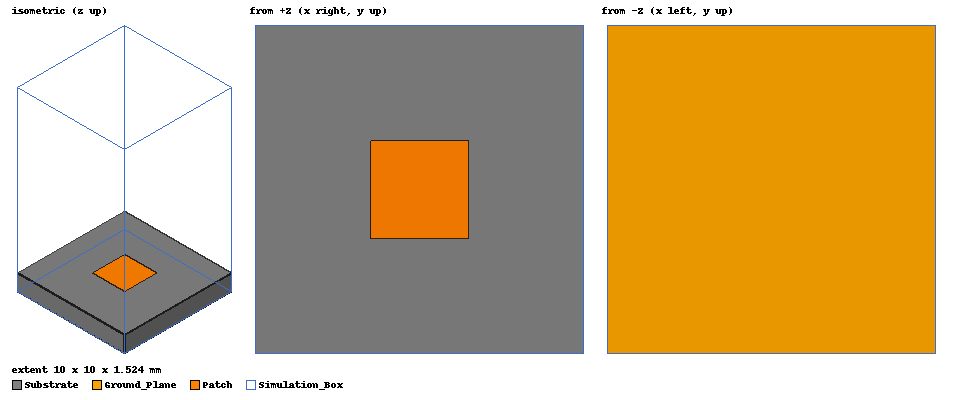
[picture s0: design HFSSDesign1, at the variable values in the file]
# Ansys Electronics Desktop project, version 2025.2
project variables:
  $Lambda = 30mm  # wavelength in air
  $Dk = 4.5  # dielectric constant
  $H = 1.524mm  # dielectric height
  $T = 0.004mil  # conductor thickness
  $L = $Lambda*$waveFactor
  $Lpatch = 3mm  # rect patch dimension; tune 5mm..15mm
  $mfrgTol = 6mil
  $waveFactor = 1/3
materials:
  vacuum: permittivity=1
  Rogers RT/duroid 5880 (tm): permittivity=2.2 dielectric_loss_tangent=0.0009
  copper: permeability=0.999991 conductivity=58000000
  Kingboard KB6167F: permittivity=4.5 dielectric_loss_tangent=0.016
  Rogers RO4003 (tm): permittivity=3.55 dielectric_loss_tangent=0.0027

design HFSSDesign1 (HFSS, HFSS Terminal Network, model units mm)
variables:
  Phi_Scan = 0deg
  Theta_Scan = 0deg
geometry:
  Substrate [Rogers RO4003 (tm)] = box(corner=(-$L/2, -$L/2, 0mm), size=($L, $L, $H))
  Substrate.move(0mm, 0mm, 0mm)
  Simulation_Box [vacuum] = box(corner=(-$L/2, -$L/2, 0), size=($L, $L, $Lambda/2+$H))
  Ground_Plane = rectangle(corner=(-$L/2, -$L/2, 0mm), x_size=$L, y_size=$L)
  coordinate_system RelativeCS1 = origin=(0mm, 0mm, 0.5081016mm) x=(1mm, 0mm, 0mm) y=(0mm, 1mm, 0mm)
  Patch = rectangle(corner=(-$Lpatch/2, -$Lpatch/2, $H), x_size=$Lpatch, y_size=$Lpatch)
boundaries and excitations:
  Primary1_-y: Primary Faces=Simulation_Box.face(-y) CoordSysVector{(-5, -5, 16.524) -> (5, -5, 16.524)}
  Primary2_-x: Primary Faces=Simulation_Box.face(-x) CoordSysVector{(-5, -5, 16.524) -> (-5, 5, 16.524)} ReverseV
  PerfE1: Perfect E Objects=Ground_Plane
  Secondary1_+y: Secondary Faces=Simulation_Box.face(+y) CoordSysVector{(-5, 5, 16.524) -> (5, 5, 16.524)} ReverseV primary=Primary1_-y PhaseDelay=UseScanAngle Phi=0 Theta=0
  Secondary2_+x: Secondary Faces=Simulation_Box.face(+x) CoordSysVector{(5, -5, 16.524) -> (5, 5, 16.524)} primary=Primary2_-x PhaseDelay=UseScanAngle Phi=0deg Theta=0deg
  PerfE2: Perfect E Faces=Patch.face
  FloquetPort1: Floquet Port Faces=Simulation_Box.face(+z) NumModes=2 DeembedDist=$Lambda/2 Modes{Mode1{CharImp=Zpi} Mode2{CharImp=Zpi}} PhaseDelay=UseScanAngle Phi=0deg Theta=0deg LatticeAVector{(5, -5, 16.524) -> (-5, -5, 16.524)} LatticeBVector{(5, -5, 16.524) -> (5, 5, 16.524)} ModesCalculator{Frequency=1GHz PhiStart=0deg PhiStop=0deg PhiStep=0deg ThetaStart=0deg ThetaStop=0deg ThetaStep=0deg} ModesList{Mode{ModeNumber=1 IndexM=0 IndexN=0 KC2=0 PropagationState=Propagating Attenuation=0 PolarizationState=TE AffectsRefinement} Mode{ModeNumber=2 IndexM=0 IndexN=0 KC2=0 PropagationState=Propagating Attenuation=0 PolarizationState=TM AffectsRefinement}}
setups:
  Setup1: HfssDriven Frequency=11GHz Matrix_Convergence{AllEntries MagLimit=0.02 PhaseLimit=1deg MagMinThreshold=0.005} MaximumPasses=25 MinimumPasses=1 MinimumConvergedPasses=2 PercentRefinement=90 BasisOrder=1 Target=0.05 PortAccuracy=2 DrivenSolverType="Iterative Solver" IterativeResidual=1e-05 DDMSolverResidual=0.0001
    sweep Sweep: 9.5GHz to 10.5GHz, 3 points; Type=Interpolating InterpTolerance=0.5 InterpMaxSolns=250 PassivityErrorTolerance=0.0001
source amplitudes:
  FloquetPort1:1: 1V 0deg
  FloquetPort1:2: 0V 0deg
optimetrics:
  ParametricSetup1: Parametric Sim._Setups=[Setup1]
    sweep $Lpatch: LIN 3mm 10mm 10mil
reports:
  S Parameter Plot1: ang_deg(S(FloquetPort1:1,FloquetPort1:1)) vs $Lpatch on Setup1 : Sweep [$H=1.6mm Freq=10GHz]; markers m1 at 3mm, m2 at 8.969mm
  S Parameter Plot2: dB(S(FloquetPort1:1,FloquetPort1:1)) vs $Lpatch on Setup1 : Sweep [Freq=10GHz]
  S Parameter Plot3: ang_deg(S(FloquetPort1:1,FloquetPort1:1)) vs $Lpatch on Setup1 : Sweep [Freq=10GHz]; markers m1 at 3mm, m2 at 9.8983998mm
